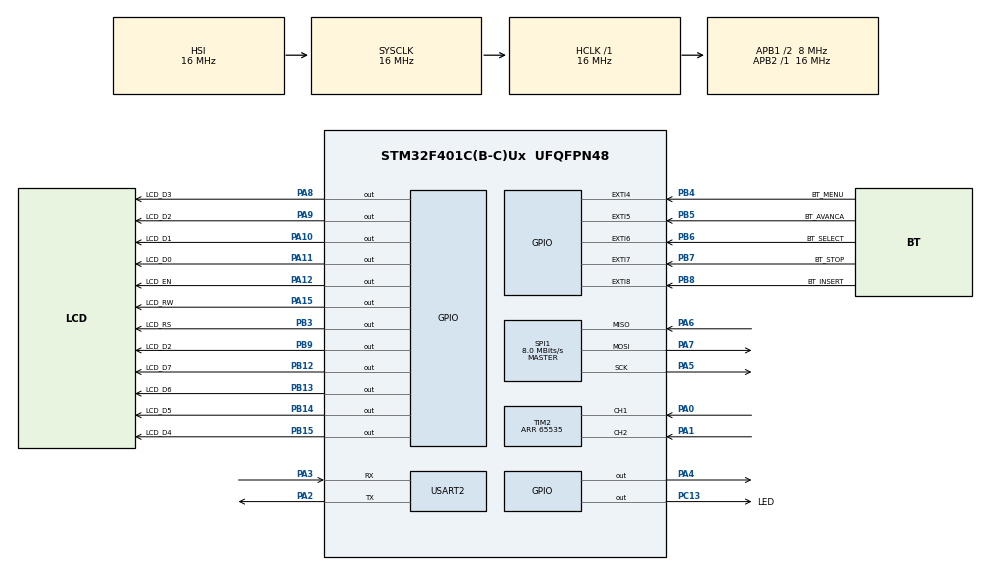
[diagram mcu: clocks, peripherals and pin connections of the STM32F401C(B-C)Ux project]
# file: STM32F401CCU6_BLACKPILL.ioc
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Dma.Request0=USART2_RX
Dma.USART2_RX.0.Direction=DMA_PERIPH_TO_MEMORY
Dma.USART2_RX.0.FIFOMode=DMA_FIFOMODE_DISABLE
Dma.USART2_RX.0.Instance=DMA1_Stream5
Dma.USART2_RX.0.MemDataAlignment=DMA_MDATAALIGN_BYTE
Dma.USART2_RX.0.MemInc=DMA_MINC_ENABLE
Dma.USART2_RX.0.Mode=DMA_NORMAL
Dma.USART2_RX.0.PeriphDataAlignment=DMA_PDATAALIGN_BYTE
Dma.USART2_RX.0.PeriphInc=DMA_PINC_DISABLE
Dma.USART2_RX.0.Priority=DMA_PRIORITY_LOW
FATFS._MAX_SS=4096
FATFS._USE_LFN=1
Mcu.Family=STM32F4
Mcu.Name=STM32F401C(B-C)Ux
Mcu.Package=UFQFPN48
NVIC.DMA1_Stream5_IRQn=true\:0\:0\:false\:false\:true\:false\:true\:true
NVIC.PriorityGroup=NVIC_PRIORITYGROUP_4
NVIC.TIM2_IRQn=true\:0\:0\:false\:false\:true\:true\:true\:true
NVIC.TIM3_IRQn=true\:0\:0\:false\:false\:true\:true\:true\:true
NVIC.USART2_IRQn=true\:0\:0\:false\:false\:true\:true\:true\:true
PA0-WKUP.Signal=S_TIM2_CH1_ETR
PA1.Signal=S_TIM2_CH2
PA10.GPIO_Label=LCD_D1
PA10.Signal=GPIO_Output
PA11.GPIO_Label=LCD_D0
PA11.Signal=GPIO_Output
PA12.GPIO_Label=LCD_EN
PA12.Signal=GPIO_Output
PA13.Mode=Serial_Wire
PA13.Signal=SYS_JTMS-SWDIO
PA14.Mode=Serial_Wire
PA14.Signal=SYS_JTCK-SWCLK
PA15.GPIO_Label=LCD_RW
PA15.Signal=GPIO_Output
PA2.Mode=Asynchronous
PA2.Signal=USART2_TX
PA3.Mode=Asynchronous
PA3.Signal=USART2_RX
PA4.Signal=GPIO_Output
PA5.Mode=Full_Duplex_Master
PA5.Signal=SPI1_SCK
PA6.Mode=Full_Duplex_Master
PA6.Signal=SPI1_MISO
PA7.Mode=Full_Duplex_Master
PA7.Signal=SPI1_MOSI
PA8.GPIO_Label=LCD_D3
PA8.Signal=GPIO_Output
PA9.GPIO_Label=LCD_D2
PA9.Signal=GPIO_Output
PB12.GPIO_Label=LCD_D7
PB12.Signal=GPIO_Output
PB13.GPIO_Label=LCD_D6
PB13.Signal=GPIO_Output
PB14.GPIO_Label=LCD_D5
PB14.Signal=GPIO_Output
PB15.GPIO_Label=LCD_D4
PB15.Signal=GPIO_Output
PB3.GPIO_Label=LCD_RS
PB3.Signal=GPIO_Output
PB4.GPIO_Label=BT_MENU
PB4.Signal=GPXTI4
PB5.GPIO_Label=BT_AVANCA
PB5.Signal=GPXTI5
PB6.GPIO_Label=BT_SELECT
PB6.Signal=GPXTI6
PB7.GPIO_Label=BT_STOP
PB7.Signal=GPXTI7
PB8.GPIO_Label=BT_INSERT
PB8.Signal=GPXTI8
PB9.GPIO_Label=LCD_D2
PB9.Signal=GPIO_Output
PC13-ANTI_TAMP.GPIO_Label=LED
PC13-ANTI_TAMP.Signal=GPIO_Output
PH0\ -\ OSC_IN.Mode=HSE-External-Oscillator
PH0\ -\ OSC_IN.Signal=RCC_OSC_IN
PH1\ -\ OSC_OUT.Mode=HSE-External-Oscillator
PH1\ -\ OSC_OUT.Signal=RCC_OSC_OUT
ProjectManager.HeapSize=0x200
ProjectManager.StackSize=0x400
ProjectManager.TargetToolchain=STM32CubeIDE
RCC.48MHZClocksFreq_Value=36000000
RCC.AHBFreq_Value=16000000
RCC.APB1CLKDivider=RCC_HCLK_DIV2
RCC.APB1Freq_Value=8000000
RCC.APB1TimFreq_Value=16000000
RCC.APB2Freq_Value=16000000
RCC.APB2TimFreq_Value=16000000
RCC.CortexFreq_Value=16000000
RCC.HCLKFreq_Value=16000000
RCC.HSE_VALUE=4000000
RCC.HSI_VALUE=16000000
RCC.LSE_VALUE=32768
RCC.PLLM=3
RCC.PLLN=108
RCC.PLLSourceVirtual=RCC_PLLSOURCE_HSE
RCC.SYSCLKFreq_VALUE=16000000
RCC.VCOOutputFreq_Value=144000000
SH.S_TIM2_CH1_ETR.0=TIM2_CH1,Encoder_Interface
SH.S_TIM2_CH2.0=TIM2_CH2,Encoder_Interface
SPI1.BaudRatePrescaler=SPI_BAUDRATEPRESCALER_2
SPI1.CalculateBaudRate=8.0 MBits/s
SPI1.Direction=SPI_DIRECTION_2LINES
SPI1.Mode=SPI_MODE_MASTER
SPI1.VirtualType=VM_MASTER
TIM2.IC1Filter=15
TIM2.IC1Polarity=TIM_ICPOLARITY_FALLING
TIM2.IC2Filter=15
TIM2.Period=65535
TIM3.Period=1000-1
TIM3.Prescaler=72-1
USART2.VirtualMode=VM_ASYNC
VP_FATFS_VS_Generic.Mode=User_defined
VP_TIM3_VS_ClockSourceINT.Mode=Internal
board=custom

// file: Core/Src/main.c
/* USER CODE BEGIN Header */
/**
  ******************************************************************************
  * @file           : main.c
  * @brief          : JUMPSYSTEM
  ******************************************************************************
  * @SMLCK  = 16MHz
  *
  * Copyright (c) 2022 STMicroelectronics.
  * All rights reserved.
  *
  * This software is licensed under terms that can be found in the LICENSE file
  * in the root directory of this software component.
  * If no LICENSE file comes with this software, it is provided AS-IS.
  *
  ******************************************************************************
  */
/* USER CODE END Header */
#include "main.h"
#include "fatfs.h"

/* USER CODE BEGIN Includes */
#include "menu_module.h"
#include "Display_module.h"
#include "DisplayMessages.h"
#include "INICIAR_Component.h"
#include "IO_interface.h"
#include <stdio.h>
#include <stdlib.h>
#include "menu_module.h"
#include "INICIAR_Component.h"
#include "Consulta_component.h"
#include "Configuracao_component.h"
#include "Exportar_component.h"
#include "Apagar_component.h"
#include "IO_interface.h"
#include "DataProcessing.h"
#include "SENSORHW.h"
#include "flash_v1.0.h"
#include "HIL_INTERFACE.h"

#include "fatfs.h"
#include "fatfs_sd.h"

/* USER CODE END Includes */

/* USER CODE BEGIN PD */
#define _VI	0
#define _HWVALIDATION	1
/* USER CODE END PD */

SPI_HandleTypeDef hspi1;

TIM_HandleTypeDef htim2;
TIM_HandleTypeDef htim3;

UART_HandleTypeDef huart2;
DMA_HandleTypeDef hdma_usart2_rx;

/* USER CODE BEGIN PV */
volatile char key = IDDLE;
volatile unsigned int timer3Data = 0;
volatile unsigned int timer3Count = 0;
volatile char sensorFlag = 1; //ESTADO INICIAL 1->FORA DO TAPETE 0> SOBRE O TAPETE
volatile char uartBuffer[1];
volatile char uartFlagRx = FALSE;
volatile char* readingState;

/* USER CODE END PV */

void SystemClock_Config(void);
static void MX_GPIO_Init(void);
static void MX_DMA_Init(void);
static void MX_TIM2_Init(void);
static void MX_TIM3_Init(void);
static void MX_USART2_UART_Init(void);
static void MX_SPI1_Init(void);

/* USER CODE BEGIN 0 */
unsigned char* getRxBuffer()
{
	return &uartBuffer;
}

void resetRxFlag()
{
	uartFlagRx = FALSE;
}

unsigned char getRxFlag()
{
	return uartFlagRx;
}

void resetTimer3Variable()
{
	timer3Data = 0;
}

unsigned char getKeyPressed()
{
	return key;
}

void resetKeyPressed()
{
	key = IDDLE;
	HAL_Delay(200);
}

unsigned long int* getUARTInstance()
{
	return &huart2;
}

unsigned char* getTimer2Instance()
{
	return &htim2;
}

unsigned char* getTimer3Instance()
{
	return &htim3;
}

unsigned char getTimer2Variable()
{
	return sensorFlag;
}

unsigned int getTimer3Variable()
{
	return timer3Data;
}

/* USER CODE END 0 */

int main(void)
{

  /* MCU Configuration--------------------------------------------------------*/

  /* Reset of all peripherals, Initializes the Flash interface and the Systick. */
  HAL_Init();

  /* USER CODE BEGIN Init */
  struct Menu{
  	  unsigned char menuNext;
  	  unsigned char menuSelect;
  	  unsigned char menuDisplay;
  	  unsigned char menuState;
    };

    struct Menu menuTesteMain = {IDDLE,IDDLE,IDDLE,IDDLE};
    struct Menu menuTesteSub = {IDDLE,IDDLE,IDDLE,IDDLE};
    unsigned char displayUpdateStatus = IDDLE;

  /* USER CODE END Init */

  /* Configure the system clock */
  SystemClock_Config();

  /* Initialize all configured peripherals */
  MX_GPIO_Init();
  MX_DMA_Init();
  MX_TIM2_Init();
  MX_TIM3_Init();
  MX_USART2_UART_Init();
  MX_SPI1_Init();
  MX_FATFS_Init();

  /* Infinite loop */
  /* USER CODE BEGIN WHILE */
  HAL_GPIO_WritePin(GPIOC, GPIO_PIN_13, SET);
  HAL_UARTEx_ReceiveToIdle_DMA(&huart2, (uint8_t *)uartBuffer, sizeof(uartBuffer));
  __HAL_DMA_DISABLE_IT(&hdma_usart2_rx, DMA_IT_HT);
  homeDataDisplay(appNameMsg,companyNameMsg,appVersionMsg);
#if _VI
  readyUserInterface(&displayUpdateStatus);
  updateUserMsg(0,USERMSG1,"LABVIEW",&displayUpdateStatus);
  HIL();
  readyUserInterface(&displayUpdateStatus);
  for(;;)
  {
	  HAL_GPIO_TogglePin(GPIOC, GPIO_PIN_13);,
	  HAL_Delay(500);
  }
#endif
#if _HWVALIDATION
  for(;;)
  {
	  HAL_GPIO_TogglePin(GPIOC, GPIO_PIN_13);
	  HAL_Delay(1000);
  }
#endif

  while (1)
  {
	  switch(menuTesteMain.menuState)
	  	  {
	  		  case IDDLE:
	  			  menuTesteMain.menuState = getNextMain(IDDLE);
	  			  if(key == AVANCAR)
	  			  {
	  				  resetKeyPressed();
	  				  readyUserInterface(&displayUpdateStatus);
	  				  menuTesteMain.menuState = getNextMain(START_TEST);
	  			  }
	  		  break;

	  		  case START_TEST:
	  			  updateUserMsg(0,USERMSG1,startUserMsg,&displayUpdateStatus);
	  			  HW_PRINT_DATA(0,INSERTMSG,avancarUserMsg);
	  			  HW_PRINT_DATA(0,OPTIONMSG,selecionarUserMsg);
	  			  if(key == AVANCAR)
	  			  {
	  				  resetKeyPressed();
	  				  readyUserInterface(&displayUpdateStatus);
	  				  menuTesteMain.menuState = getNextMain(CONSULT_DATA);
	  			  }
	  			  else if(key == CONFIRMAR)
	  			  {
	  				  resetKeyPressed();
	  				  readyUserInterface(&displayUpdateStatus);
	  				  menuTesteMain.menuSelect = menuTesteMain.menuState;
	  				  initStateMachine(&menuTesteSub);
	  				  readyUserInterface(&displayUpdateStatus);

	  				  menuTesteSub.menuState = IDDLE;
	  			  }
	  		  break;

	  		  case CONSULT_DATA:
	  			  updateUserMsg(0,0,consultUserMsg,&displayUpdateStatus);
	  			  HW_PRINT_DATA(0,INSERTMSG,avancarUserMsg);
	  			  HW_PRINT_DATA(0,OPTIONMSG,selecionarUserMsg);
	  			  if(key == AVANCAR)
	  			  {
	  				  resetKeyPressed();
	  				                      readyUserInterface(&displayUpdateStatus);
	  				  menuTesteMain.menuState = getNextMain(CONFIG_SENSOR);
	  			  }

	  			  else if(key == CONFIRMAR)
	  			  {
	  				  resetKeyPressed();
	  				  readyUserInterface(&displayUpdateStatus);
	  				 consultStateMachine(&menuTesteSub);
	  				  readyUserInterface(&displayUpdateStatus);
	  				 menuTesteMain.menuState = getNextMain(START_TEST);
	  				 menuTesteSub.menuState = IDDLE;
	  			  }
	  		  break;

	  		  case CONFIG_SENSOR:
	  			  updateUserMsg(0,0,configUserMsg,&displayUpdateStatus);
	  			  HW_PRINT_DATA(0,INSERTMSG,avancarUserMsg);
	  			  HW_PRINT_DATA(0,OPTIONMSG,selecionarUserMsg);
	  			  if(key == AVANCAR)
	  			  {
	  				  resetKeyPressed();
	  				  readyUserInterface(&displayUpdateStatus);
	  				  menuTesteMain.menuState = getNextMain(EXPORT_DATA);
	  			  }
	  			  else if(key == CONFIRMAR)
	  			  {
	  				  resetKeyPressed();
	  				  readyUserInterface(&displayUpdateStatus);
	  				  configStateMachine(&menuTesteSub);
	  				  readyUserInterface(&displayUpdateStatus);
	  				  menuTesteSub.menuState = IDDLE;
	  				  menuTesteMain.menuState = getNextMain(START_TEST);
	  			  }
	  		  break;

	  		  case EXPORT_DATA:
	  			  updateUserMsg(0,0,exportUserMsg,&displayUpdateStatus);
	  			  HW_PRINT_DATA(0,INSERTMSG,avancarUserMsg);
	  			  HW_PRINT_DATA(0,OPTIONMSG,selecionarUserMsg);
	  			  if(key == AVANCAR)
	  			  {
	  				  resetKeyPressed();
	  				  readyUserInterface(&displayUpdateStatus);
	  				  menuTesteMain.menuState = getNextMain(ERASE_DATA);
	  			  }
	  			  else if(key == CONFIRMAR)
	  			  {
	  				  resetKeyPressed();
	  				  readyUserInterface(&displayUpdateStatus);
	  				  exportStateMachine(&menuTesteSub);
	  				  readyUserInterface(&displayUpdateStatus);

	  				  menuTesteSub.menuState = IDDLE;
	  				  menuTesteMain.menuState = getNextMain(START_TEST);
	  			  }
	  		  break;

	  		  case ERASE_DATA:
	  			  updateUserMsg(0,0,eraseUserMsg,&displayUpdateStatus);
	  			  HW_PRINT_DATA(0,INSERTMSG,avancarUserMsg);
	  			  HW_PRINT_DATA(0,OPTIONMSG,selecionarUserMsg);
	  			  if(key == AVANCAR)
	  			  {
	  				  resetKeyPressed();
	  				  readyUserInterface(&displayUpdateStatus);
	  				  menuTesteMain.menuState = getNextMain(START_TEST);
	  			  }

	  			  else if(key == CONFIRMAR)
	  			  {
	  				  resetKeyPressed();
	  				  readyUserInterface(&displayUpdateStatus);
	  				  eraseStateMachine(&menuTesteSub);
	  				  readyUserInterface(&displayUpdateStatus);

	  				  menuTesteSub.menuState = IDDLE;
	  				  menuTesteMain.menuState = getNextMain(START_TEST);
	  			  }
	  		  break;
	  	  }
	    }
    /* USER CODE END WHILE */

}

void SystemClock_Config(void)
{
  RCC_OscInitTypeDef RCC_OscInitStruct = {0};
  RCC_ClkInitTypeDef RCC_ClkInitStruct = {0};

  /** Configure the main internal regulator output voltage
  */
  __HAL_RCC_PWR_CLK_ENABLE();
  __HAL_PWR_VOLTAGESCALING_CONFIG(PWR_REGULATOR_VOLTAGE_SCALE2);

  /** Initializes the RCC Oscillators according to the specified parameters
  * in the RCC_OscInitTypeDef structure.
  */
  RCC_OscInitStruct.OscillatorType = RCC_OSCILLATORTYPE_HSI;
  RCC_OscInitStruct.HSIState = RCC_HSI_ON;
  RCC_OscInitStruct.HSICalibrationValue = RCC_HSICALIBRATION_DEFAULT;
  RCC_OscInitStruct.PLL.PLLState = RCC_PLL_NONE;
  if (HAL_RCC_OscConfig(&RCC_OscInitStruct) != HAL_OK)
  {
    Error_Handler();
  }

  /** Initializes the CPU, AHB and APB buses clocks
  */
  RCC_ClkInitStruct.ClockType = RCC_CLOCKTYPE_HCLK|RCC_CLOCKTYPE_SYSCLK
                              |RCC_CLOCKTYPE_PCLK1|RCC_CLOCKTYPE_PCLK2;
  RCC_ClkInitStruct.SYSCLKSource = RCC_SYSCLKSOURCE_HSI;
  RCC_ClkInitStruct.AHBCLKDivider = RCC_SYSCLK_DIV1;
  RCC_ClkInitStruct.APB1CLKDivider = RCC_HCLK_DIV2;
  RCC_ClkInitStruct.APB2CLKDivider = RCC_HCLK_DIV1;

  if (HAL_RCC_ClockConfig(&RCC_ClkInitStruct, FLASH_LATENCY_0) != HAL_OK)
  {
    Error_Handler();
  }
}

static void MX_SPI1_Init(void)
{

  /* SPI1 parameter configuration*/
  hspi1.Instance = SPI1;
  hspi1.Init.Mode = SPI_MODE_MASTER;
  hspi1.Init.Direction = SPI_DIRECTION_2LINES;
  hspi1.Init.DataSize = SPI_DATASIZE_8BIT;
  hspi1.Init.CLKPolarity = SPI_POLARITY_LOW;
  hspi1.Init.CLKPhase = SPI_PHASE_1EDGE;
  hspi1.Init.NSS = SPI_NSS_SOFT;
  hspi1.Init.BaudRatePrescaler = SPI_BAUDRATEPRESCALER_2;
  hspi1.Init.FirstBit = SPI_FIRSTBIT_MSB;
  hspi1.Init.TIMode = SPI_TIMODE_DISABLE;
  hspi1.Init.CRCCalculation = SPI_CRCCALCULATION_DISABLE;
  hspi1.Init.CRCPolynomial = 10;
  if (HAL_SPI_Init(&hspi1) != HAL_OK)
  {
    Error_Handler();
  }

}

static void MX_TIM2_Init(void)
{

  TIM_Encoder_InitTypeDef sConfig = {0};
  TIM_MasterConfigTypeDef sMasterConfig = {0};

  htim2.Instance = TIM2;
  htim2.Init.Prescaler = 0;
  htim2.Init.CounterMode = TIM_COUNTERMODE_UP;
  htim2.Init.Period = 65535;
  htim2.Init.ClockDivision = TIM_CLOCKDIVISION_DIV1;
  htim2.Init.AutoReloadPreload = TIM_AUTORELOAD_PRELOAD_DISABLE;
  sConfig.EncoderMode = TIM_ENCODERMODE_TI1;
  sConfig.IC1Polarity = TIM_ICPOLARITY_FALLING;
  sConfig.IC1Selection = TIM_ICSELECTION_DIRECTTI;
  sConfig.IC1Prescaler = TIM_ICPSC_DIV1;
  sConfig.IC1Filter = 15;
  sConfig.IC2Polarity = TIM_ICPOLARITY_RISING;
  sConfig.IC2Selection = TIM_ICSELECTION_DIRECTTI;
  sConfig.IC2Prescaler = TIM_ICPSC_DIV1;
  sConfig.IC2Filter = 15;
  if (HAL_TIM_Encoder_Init(&htim2, &sConfig) != HAL_OK)
  {
    Error_Handler();
  }
  sMasterConfig.MasterOutputTrigger = TIM_TRGO_RESET;
  sMasterConfig.MasterSlaveMode = TIM_MASTERSLAVEMODE_DISABLE;
  if (HAL_TIMEx_MasterConfigSynchronization(&htim2, &sMasterConfig) != HAL_OK)
  {
    Error_Handler();
  }

}

static void MX_TIM3_Init(void)
{

  TIM_ClockConfigTypeDef sClockSourceConfig = {0};
  TIM_MasterConfigTypeDef sMasterConfig = {0};

  htim3.Instance = TIM3;
  htim3.Init.Prescaler = 72-1;
  htim3.Init.CounterMode = TIM_COUNTERMODE_UP;
  htim3.Init.Period = 1000-1;
  htim3.Init.ClockDivision = TIM_CLOCKDIVISION_DIV1;
  htim3.Init.AutoReloadPreload = TIM_AUTORELOAD_PRELOAD_DISABLE;
  if (HAL_TIM_Base_Init(&htim3) != HAL_OK)
  {
    Error_Handler();
  }
  sClockSourceConfig.ClockSource = TIM_CLOCKSOURCE_INTERNAL;
  if (HAL_TIM_ConfigClockSource(&htim3, &sClockSourceConfig) != HAL_OK)
  {
    Error_Handler();
  }
  sMasterConfig.MasterOutputTrigger = TIM_TRGO_RESET;
  sMasterConfig.MasterSlaveMode = TIM_MASTERSLAVEMODE_DISABLE;
  if (HAL_TIMEx_MasterConfigSynchronization(&htim3, &sMasterConfig) != HAL_OK)
  {
    Error_Handler();
  }

}

static void MX_USART2_UART_Init(void)
{

  huart2.Instance = USART2;
  huart2.Init.BaudRate = 115200;
  huart2.Init.WordLength = UART_WORDLENGTH_8B;
  huart2.Init.StopBits = UART_STOPBITS_1;
  huart2.Init.Parity = UART_PARITY_NONE;
  huart2.Init.Mode = UART_MODE_TX_RX;
  huart2.Init.HwFlowCtl = UART_HWCONTROL_NONE;
  huart2.Init.OverSampling = UART_OVERSAMPLING_16;
  if (HAL_UART_Init(&huart2) != HAL_OK)
  {
    Error_Handler();
  }

}

static void MX_DMA_Init(void)
{

  /* DMA controller clock enable */
  __HAL_RCC_DMA1_CLK_ENABLE();

  /* DMA interrupt init */
  /* DMA1_Stream5_IRQn interrupt configuration */
  HAL_NVIC_SetPriority(DMA1_Stream5_IRQn, 0, 0);
  HAL_NVIC_EnableIRQ(DMA1_Stream5_IRQn);

}

static void MX_GPIO_Init(void)
{
  GPIO_InitTypeDef GPIO_InitStruct = {0};

  /* GPIO Ports Clock Enable */
  __HAL_RCC_GPIOC_CLK_ENABLE();
  __HAL_RCC_GPIOH_CLK_ENABLE();
  __HAL_RCC_GPIOA_CLK_ENABLE();
  __HAL_RCC_GPIOB_CLK_ENABLE();

  /*Configure GPIO pin Output Level */
  HAL_GPIO_WritePin(LED_GPIO_Port, LED_Pin, GPIO_PIN_RESET);

  /*Configure GPIO pin Output Level */
  HAL_GPIO_WritePin(GPIOA, GPIO_PIN_4|LCD_D3_Pin|LCD_D2_Pin|LCD_D1_Pin
                          |LCD_D0_Pin|LCD_EN_Pin|LCD_RW_Pin, GPIO_PIN_RESET);

  /*Configure GPIO pin Output Level */
  HAL_GPIO_WritePin(GPIOB, LCD_D7_Pin|LCD_D6_Pin|LCD_D5_Pin|LCD_D4_Pin
                          |LCD_RS_Pin|LCD_D2B9_Pin, GPIO_PIN_RESET);

  /*Configure GPIO pin : LED_Pin */
  GPIO_InitStruct.Pin = LED_Pin;
  GPIO_InitStruct.Mode = GPIO_MODE_OUTPUT_PP;
  GPIO_InitStruct.Pull = GPIO_NOPULL;
  GPIO_InitStruct.Speed = GPIO_SPEED_FREQ_LOW;
  HAL_GPIO_Init(LED_GPIO_Port, &GPIO_InitStruct);

  /*Configure GPIO pins : PA4 LCD_D3_Pin LCD_D2_Pin LCD_D1_Pin
                           LCD_D0_Pin LCD_EN_Pin LCD_RW_Pin */
  GPIO_InitStruct.Pin = GPIO_PIN_4|LCD_D3_Pin|LCD_D2_Pin|LCD_D1_Pin
                          |LCD_D0_Pin|LCD_EN_Pin|LCD_RW_Pin;
  GPIO_InitStruct.Mode = GPIO_MODE_OUTPUT_PP;
  GPIO_InitStruct.Pull = GPIO_NOPULL;
  GPIO_InitStruct.Speed = GPIO_SPEED_FREQ_LOW;
  HAL_GPIO_Init(GPIOA, &GPIO_InitStruct);

  /*Configure GPIO pins : LCD_D7_Pin LCD_D6_Pin LCD_D5_Pin LCD_D4_Pin
                           LCD_RS_Pin LCD_D2B9_Pin */
  GPIO_InitStruct.Pin = LCD_D7_Pin|LCD_D6_Pin|LCD_D5_Pin|LCD_D4_Pin
                          |LCD_RS_Pin|LCD_D2B9_Pin;
  GPIO_InitStruct.Mode = GPIO_MODE_OUTPUT_PP;
  GPIO_InitStruct.Pull = GPIO_NOPULL;
  GPIO_InitStruct.Speed = GPIO_SPEED_FREQ_LOW;
  HAL_GPIO_Init(GPIOB, &GPIO_InitStruct);

  /*Configure GPIO pins : BT_MENU_Pin BT_AVANCA_Pin BT_SELECT_Pin BT_STOP_Pin
                           BT_INSERT_Pin */
  GPIO_InitStruct.Pin = BT_MENU_Pin|BT_AVANCA_Pin|BT_SELECT_Pin|BT_STOP_Pin
                          |BT_INSERT_Pin;
  GPIO_InitStruct.Mode = GPIO_MODE_IT_RISING;
  GPIO_InitStruct.Pull = GPIO_NOPULL;
  HAL_GPIO_Init(GPIOB, &GPIO_InitStruct);

}

/* USER CODE BEGIN 4 */
void HAL_TIM_PeriodElapsedCallback(TIM_HandleTypeDef* htim)
{
	if(htim == &htim3)
	{
		timer3Count+=1;  //1ms
		if(timer3Count == 10) //10ms
		{
			timer3Data += 10;
			timer3Count = 0;
		}
	}

}

void HAL_UARTEx_RxEventCallback(UART_HandleTypeDef *huart, uint16_t Size)
{

	uartFlagRx = TRUE;
	HAL_GPIO_TogglePin(GPIOC, GPIO_PIN_13);
  HAL_UARTEx_ReceiveToIdle_DMA(&huart2, (uint8_t *)uartBuffer, sizeof(uartBuffer));
  __HAL_DMA_DISABLE_IT(&hdma_usart2_rx, DMA_IT_HT);

}

void HAL_TIM_IC_CaptureCallback(TIM_HandleTypeDef *htim)
{
	if(htim == &htim2)
	{
		if(htim->Channel == 2)
		{
//			HAL_GPIO_WritePin(GPIOC, GPIO_PIN_13, SET);
			sensorFlag = 1;
		}
		else if(htim->Channel == 1)
		{
//			HAL_GPIO_WritePin(GPIOC, GPIO_PIN_13, RESET);
			sensorFlag = 0;
		}
	}

}

void HAL_GPIO_EXTI_Callback(uint16_t GPIO_Pin)
{
	switch(GPIO_Pin)
	{
		case BT_AVANCA_Pin:
			key = AVANCAR;
		break;
		case BT_INSERT_Pin:
			key = INSERIR;
		break;
		case BT_MENU_Pin:
			key = MENU;
		break;
		case BT_SELECT_Pin:
			key = CONFIRMAR;
		break;
		case BT_STOP_Pin:
			key = PARAR;
		break;
	}

}

/* USER CODE END 4 */

void Error_Handler(void)
{
  __disable_irq();
  while (1)
  {
  }
}
